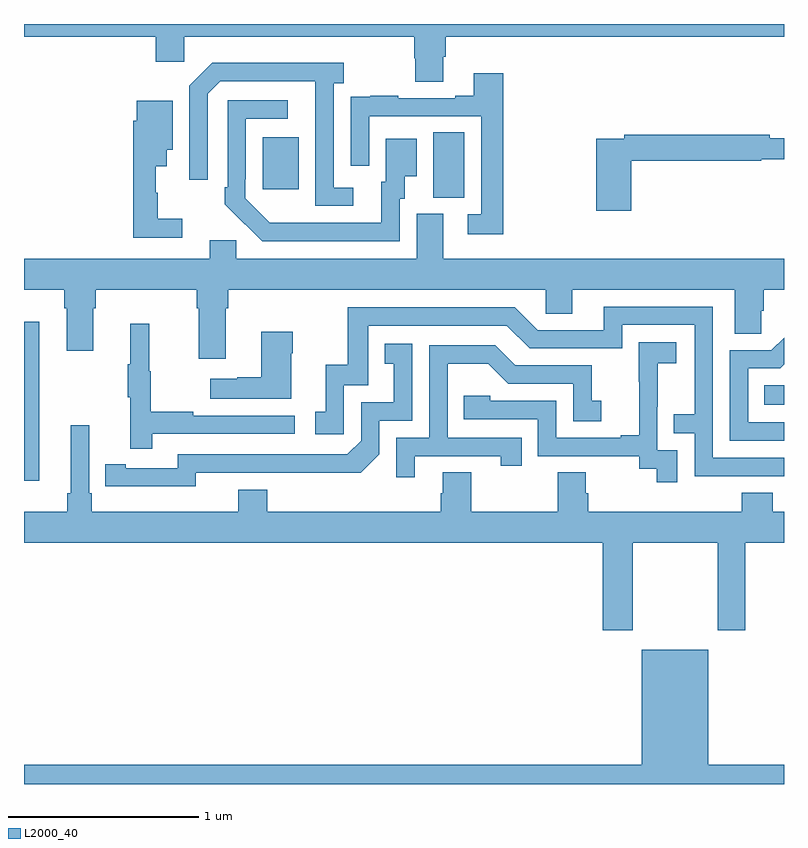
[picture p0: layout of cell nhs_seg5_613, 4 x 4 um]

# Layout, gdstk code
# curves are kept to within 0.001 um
import gdstk
lib = gdstk.Library(unit=1e-6, precision=1e-09)
def R(c, l, rs):  # rectangles x0, y0, x1, y1
    for r in rs: c.add(gdstk.rectangle(r[:2], r[2:], *l))
def P(c, l, *ps):  # polygons
    for p in ps: c.add(gdstk.Polygon(p, *l))
L2000_40 = (2000, 40)

nhs_seg5_613 = lib.new_cell('nhs_seg5_613')
R(nhs_seg5_613, L2000_40, [(149,882.396,149.08,883.231), (152.896,882.794,153,882.898), (151.154,883.885,151.318,884.228), (150.257,883.929,150.445,884.203)])
P(nhs_seg5_613, L2000_40, [(151.207,884.626),(151.22,884.626),(151.22,884.732),(153,884.732),(153,884.799),(149,884.799),(149,884.732),(149.693,884.732),(149.693,884.601),(149.844,884.601),(149.844,884.732),(151.055,884.732),(151.055,884.619),(151.06,884.619),(151.06,884.494),(151.207,884.494)],
  [(150.733,883.938),(150.63,883.938),(150.63,884.486),(150.682,884.486),(150.682,884.596),(149.992,884.596),(149.871,884.475),(149.871,883.98),(149.967,883.98),(149.967,884.433),(150.033,884.499),(150.533,884.499),(150.534,883.842),(150.733,883.842)],
  [(151.523,884.539),(151.367,884.539),(151.367,884.422),(151.271,884.422),(151.271,884.409),(150.971,884.409),(150.971,884.422),(150.823,884.422),(150.823,884.415),(150.721,884.415),(150.721,884.306),(150.72,884.306),(150.72,884.052),(150.816,884.052),(150.816,884.313),(151.407,884.313),(151.407,883.797),(151.335,883.797),(151.335,883.692),(151.523,883.692)],
  [(150.978,883.878),(151.003,883.878),(151.003,883.997),(151.066,883.997),(151.066,884.194),(150.905,884.194),(150.905,883.968),(150.881,883.968),(150.881,883.752),(150.294,883.753),(150.165,883.881),(150.165,883.981),(150.168,883.981),(150.168,884.301),(150.388,884.301),(150.388,884.397),(150.072,884.397),(150.072,883.939),(150.057,883.939),(150.057,883.851),(150.254,883.656),(150.978,883.656)],
  [(149.833,883.775),(149.704,883.775),(149.704,883.911),(149.693,883.911),(149.693,884.051),(149.752,884.051),(149.752,884.138),(149.782,884.138),(149.782,884.395),(149.594,884.395),(149.594,884.291),(149.575,884.291),(149.575,883.674),(149.833,883.674)],
  [(152.195,884.08),(152.88,884.08),(152.88,884.088),(153,884.088),(153,884.197),(152.924,884.197),(152.924,884.216),(152.158,884.216),(152.158,884.196),(152.012,884.196),(152.012,883.815),(152.195,883.815)],
  [(150.061,883.304),(150.074,883.304),(150.074,883.4),(151.746,883.4),(151.746,883.273),(151.885,883.273),(151.885,883.4),(152.741,883.4),(152.741,883.168),(152.88,883.168),(152.88,883.291),(152.894,883.291),(152.894,883.4),(153,883.4),(153,883.564),(151.207,883.564),(151.207,883.8),(151.067,883.8),(151.067,883.564),(150.117,883.564),(150.117,883.662),(149.978,883.662),(149.978,883.564),(149,883.564),(149,883.4),(149.213,883.4),(149.213,883.304),(149.225,883.304),(149.225,883.08),(149.365,883.08),(149.365,883.304),(149.378,883.304),(149.378,883.4),(149.909,883.4),(149.909,883.304),(149.921,883.304),(149.921,883.038),(150.061,883.038)],
  [(153,882.516),(152.625,882.516),(152.625,883.311),(152.051,883.311),(152.051,883.188),(151.704,883.188),(151.584,883.308),(150.705,883.308),(150.705,883.006),(150.587,883.006),(150.587,882.759),(150.534,882.759),(150.534,882.639),(150.684,882.639),(150.684,882.897),(150.813,882.897),(150.813,883.212),(151.542,883.212),(151.662,883.092),(152.148,883.092),(152.148,883.215),(152.529,883.215),(152.529,882.746),(152.419,882.746),(152.419,882.645),(152.529,882.645),(152.529,882.42),(153,882.42)],
  [(149.675,882.642),(150.424,882.642),(150.424,882.738),(149.891,882.738),(149.891,882.758),(149.668,882.758),(149.668,882.972),(149.66,882.972),(149.66,883.222),(149.558,883.222),(149.558,883.009),(149.547,883.009),(149.547,882.835),(149.558,882.835),(149.558,882.564),(149.675,882.564)],
  [(150.406,883.067),(150.414,883.067),(150.414,883.18),(150.248,883.18),(150.248,882.941),(150.122,882.941),(150.122,882.931),(149.979,882.931),(149.979,882.827),(150.406,882.827)],
  [(153,882.702),(152.811,882.702),(152.811,882.987),(152.98,882.987),(153,883.007),(153,883.149),(152.934,883.083),(152.715,883.083),(152.715,882.606),(153,882.606)],
  [(152.439,882.555),(152.334,882.555),(152.334,882.785),(152.336,882.785),(152.336,883.013),(152.434,883.013),(152.434,883.123),(152.236,883.123),(152.236,882.917),(152.237,882.917),(152.237,882.634),(152.141,882.634),(152.141,882.621),(151.8,882.621),(151.8,882.816),(151.455,882.816),(151.455,882.843),(151.315,882.843),(151.315,882.72),(151.704,882.72),(151.704,882.525),(152.238,882.525),(152.238,882.457),(152.331,882.457),(152.331,882.387),(152.439,882.387)],
  [(149.904,882.438),(150.772,882.437),(150.87,882.534),(150.87,882.711),(151.044,882.711),(151.044,883.117),(150.898,883.117),(150.898,883.011),(150.947,883.011),(150.947,882.807),(150.774,882.807),(150.774,882.606),(150.702,882.534),(149.808,882.534),(149.808,882.462),(149.536,882.462),(149.536,882.482),(149.428,882.482),(149.428,882.366),(149.904,882.365)],
  [(151.057,882.525),(151.508,882.525),(151.508,882.474),(151.619,882.474),(151.619,882.621),(151.23,882.621),(151.23,883.01),(151.444,883.01),(151.548,882.906),(151.89,882.906),(151.89,882.708),(152.038,882.708),(152.038,882.817),(151.989,882.817),(151.989,883.002),(151.585,883.002),(151.48,883.107),(151.134,883.107),(151.134,882.621),(150.96,882.621),(150.96,882.414),(151.057,882.414)],
  [(151.957,882.33),(151.957,882.44),(151.81,882.44),(151.81,882.232),(151.353,882.232),(151.353,882.44),(151.205,882.44),(151.205,882.33),(151.193,882.33),(151.193,882.232),(150.281,882.232),(150.281,882.349),(150.128,882.349),(150.128,882.232),(149.357,882.232),(149.357,882.328),(149.343,882.328),(149.343,882.688),(149.246,882.688),(149.246,882.328),(149.227,882.328),(149.227,882.232),(149,882.232),(149,882.068),(152.045,882.068),(152.045,881.607),(152.205,881.607),(152.205,882.068),(152.65,882.068),(152.65,881.607),(152.797,881.607),(152.797,882.068),(153,882.068),(153,882.232),(152.942,882.232),(152.942,882.331),(152.777,882.331),(152.777,882.232),(151.97,882.232),(151.97,882.33)],
  [(153,880.9),(152.602,880.9),(152.602,881.506),(152.252,881.506),(152.252,880.9),(149,880.9),(149,880.799),(153,880.799)])

lib.write_gds('nhs_seg5_613.gds')
